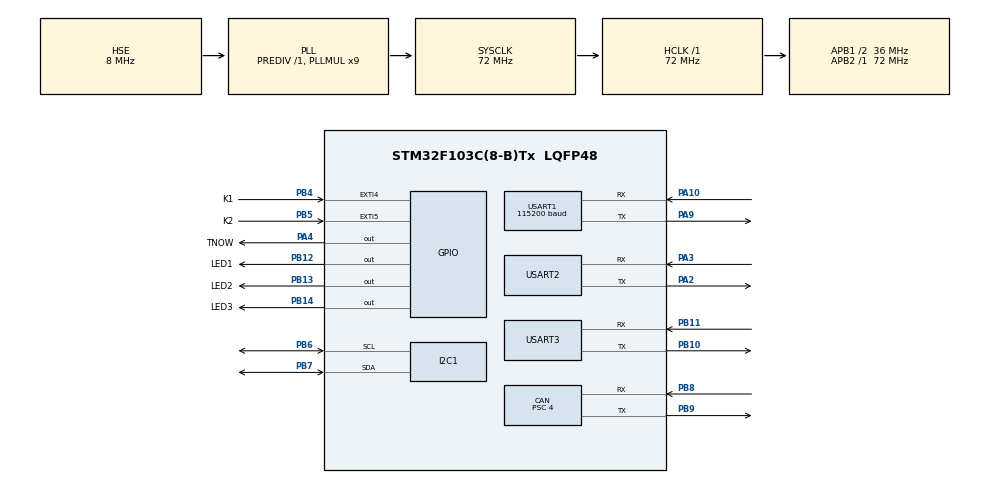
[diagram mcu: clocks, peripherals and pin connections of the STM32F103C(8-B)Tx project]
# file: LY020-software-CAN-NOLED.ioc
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CAN.BS1=CAN_BS1_5TQ
CAN.BS2=CAN_BS2_3TQ
CAN.CalculateBaudRate=1000000
CAN.CalculateTimeBit=1000
CAN.CalculateTimeQuantum=111.11111111111111
CAN.Prescaler=4
Mcu.Family=STM32F1
Mcu.Name=STM32F103C(8-B)Tx
Mcu.Package=LQFP48
NVIC.EXTI4_IRQn=true\:0\:0\:false\:false\:true\:true\:true\:true
NVIC.EXTI9_5_IRQn=true\:0\:0\:false\:false\:true\:true\:true\:true
NVIC.PriorityGroup=NVIC_PRIORITYGROUP_4
NVIC.RCC_IRQn=true\:0\:0\:false\:false\:true\:true\:false\:true
NVIC.USB_LP_CAN1_RX0_IRQn=true\:0\:0\:false\:false\:true\:false\:true\:true
PA10.Mode=Asynchronous
PA10.Signal=USART1_RX
PA13.Mode=Serial_Wire
PA13.Signal=SYS_JTMS-SWDIO
PA14.Mode=Serial_Wire
PA14.Signal=SYS_JTCK-SWCLK
PA2.Mode=Asynchronous
PA2.Signal=USART2_TX
PA3.Mode=Asynchronous
PA3.Signal=USART2_RX
PA4.GPIO_Label=TNOW
PA4.GPIO_Speed=GPIO_SPEED_FREQ_MEDIUM
PA4.Signal=GPIO_Output
PA9.Mode=Asynchronous
PA9.Signal=USART1_TX
PB10.Mode=Asynchronous
PB10.Signal=USART3_TX
PB11.Mode=Asynchronous
PB11.Signal=USART3_RX
PB12.GPIO_Label=LED1
PB12.Signal=GPIO_Output
PB13.GPIO_Label=LED2
PB13.Signal=GPIO_Output
PB14.GPIO_Label=LED3
PB14.Signal=GPIO_Output
PB4.GPIO_Label=K1
PB4.GPIO_ModeDefaultEXTI=GPIO_MODE_IT_FALLING
PB4.Signal=GPXTI4
PB5.GPIO_Label=K2
PB5.GPIO_ModeDefaultEXTI=GPIO_MODE_IT_FALLING
PB5.Signal=GPXTI5
PB6.Mode=I2C
PB6.Signal=I2C1_SCL
PB7.Mode=I2C
PB7.Signal=I2C1_SDA
PB8.Mode=CAN_Activate
PB8.Signal=CAN_RX
PB9.Mode=CAN_Activate
PB9.Signal=CAN_TX
PC14-OSC32_IN.Mode=LSE-External-Oscillator
PC14-OSC32_IN.Signal=RCC_OSC32_IN
PC15-OSC32_OUT.Mode=LSE-External-Oscillator
PC15-OSC32_OUT.Signal=RCC_OSC32_OUT
PD0-OSC_IN.Mode=HSE-External-Oscillator
PD0-OSC_IN.Signal=RCC_OSC_IN
PD1-OSC_OUT.Mode=HSE-External-Oscillator
PD1-OSC_OUT.Signal=RCC_OSC_OUT
ProjectManager.HeapSize=0x400
ProjectManager.StackSize=0x800
ProjectManager.TargetToolchain=MDK-ARM V5.32
RCC.AHBFreq_Value=72000000
RCC.APB1CLKDivider=RCC_HCLK_DIV2
RCC.APB1Freq_Value=36000000
RCC.APB1TimFreq_Value=72000000
RCC.APB2Freq_Value=72000000
RCC.APB2TimFreq_Value=72000000
RCC.HCLKFreq_Value=72000000
RCC.PLLMUL=RCC_PLL_MUL9
RCC.PLLSourceVirtual=RCC_PLLSOURCE_HSE
RCC.SYSCLKFreq_VALUE=72000000
RCC.SYSCLKSource=RCC_SYSCLKSOURCE_PLLCLK
RCC.USBFreq_Value=48000000
RCC.USBPrescaler=RCC_USBCLKSOURCE_PLL_DIV1_5
USART1.BaudRate=115200
USART1.VirtualMode=VM_ASYNC
USART2.VirtualMode=VM_ASYNC
USART3.VirtualMode=VM_ASYNC
board=custom

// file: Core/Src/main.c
/* USER CODE BEGIN Header */
/**
  ******************************************************************************
  * @file           : main.c
  * @brief          : Main program body
  ******************************************************************************
  * @attention
  *
  * Copyright (c) 2025 STMicroelectronics.
  * All rights reserved.
  *
  * This software is licensed under terms that can be found in the LICENSE file
  * in the root directory of this software component.
  * If no LICENSE file comes with this software, it is provided AS-IS.
  *
  ******************************************************************************
  */
/* USER CODE END Header */
#include "main.h"

/* USER CODE BEGIN Includes */
#include "stdio.h"
#include "OLED_IIC_Config.h"
#include "OLED_Function.h"
#include "OLED_Front.h"

/* USER CODE END Includes */

CAN_HandleTypeDef hcan;

I2C_HandleTypeDef hi2c1;

UART_HandleTypeDef huart1;
UART_HandleTypeDef huart2;
UART_HandleTypeDef huart3;

/* USER CODE BEGIN PV */
//char buff[] = "USB CDC TESTING Hello World!\r\n";

//CAN全局变量
CAN_TxHeaderTypeDef TxHeaderCAN;
CAN_RxHeaderTypeDef RxHeaderCAN;
uint8_t RxDataCAN[8];
uint8_t TxDataCAN[8];
//uint8_t TxDataCAN[8]= {99,25,33,48,99,78,63,99};
uint8_t CAN_Rx_Flag=0;//CAN接收标志
/* USER CODE END PV */

void SystemClock_Config(void);
static void MX_GPIO_Init(void);
static void MX_USART1_UART_Init(void);
static void MX_I2C1_Init(void);
static void MX_USART2_UART_Init(void);
static void MX_USART3_UART_Init(void);
static void MX_CAN_Init(void);
/* USER CODE BEGIN PFP */
void filter_init(void);
void CAN_Test(void);
void CAN1_Send_Test(void);
/* USER CODE END PFP */

/* USER CODE BEGIN 0 */
#ifdef __GNUC__
  #define PUTCHAR_PROTOTYPE int __io_putchar(int ch)
#else
  #define PUTCHAR_PROTOTYPE int fputc(int ch, FILE *f)
#endif

PUTCHAR_PROTOTYPE
{
  HAL_UART_Transmit(&huart1,(uint8_t *)&ch,1,0xFFFF); //阻塞方式打印,串口1
  return ch;
}

/*
void USB_Disconnected(void) {
    __HAL_RCC_USB_FORCE_RESET();
    HAL_Delay(200);
    __HAL_RCC_USB_RELEASE_RESET();

    GPIO_InitTypeDef GPIO_Initure;
    __HAL_RCC_GPIOA_CLK_ENABLE();

    GPIO_Initure.Pin = GPIO_PIN_11 | GPIO_PIN_12;
    GPIO_Initure.Mode = GPIO_MODE_OUTPUT_PP;
    GPIO_Initure.Pull = GPIO_PULLDOWN;
    GPIO_Initure.Speed = GPIO_SPEED_FREQ_HIGH;
    HAL_GPIO_Init(GPIOA, &GPIO_Initure);

    HAL_GPIO_WritePin(GPIOA, GPIO_PIN_11, GPIO_PIN_RESET);
    HAL_GPIO_WritePin(GPIOA, GPIO_PIN_12, GPIO_PIN_RESET);
    HAL_Delay(300);
}
*/
/* USER CODE END 0 */

int main(void)
{

  /* MCU Configuration--------------------------------------------------------*/

  /* Reset of all peripherals, Initializes the Flash interface and the Systick. */
  HAL_Init();

  /* Configure the system clock */
  SystemClock_Config();

  /* Initialize all configured peripherals */
  MX_GPIO_Init();
  MX_USART1_UART_Init();
  MX_I2C1_Init();
  MX_USART2_UART_Init();
  MX_USART3_UART_Init();
  MX_CAN_Init();
  /* USER CODE BEGIN 2 */
	filter_init();
  HAL_CAN_Start(&hcan);

  //printf("LAN YUAN TECH\r\n");
  HAL_UART_Transmit(&huart1,"LAN YUAN TECH\r\n",strlen("LAN YUAN TECH\r\n"),0xFFFF);
  HAL_Delay(50);

  //printf("LAN YUAN TECH\r\n");
  printf("SYSTEM START\r\n");
  /* USER CODE END 2 */

  /* Infinite loop */
  while (1)
  {

    /* USER CODE BEGIN 3 */

		 //CDC_Transmit_FS(buff,sizeof(buff)); //USB 虚拟串口发送数据
	  //HAL_Delay(500);

	 // printf("LAN YUAN TECH\r\n");

	  //HAL_UART_Transmit(&huart1,"LAN YUAN TECH\r\n",strlen("LAN YUAN TECH\r\n"),0xFFFF);

	  HAL_GPIO_TogglePin(LED1_GPIO_Port, LED1_Pin);
	  HAL_Delay(200);
	  HAL_GPIO_TogglePin(LED2_GPIO_Port, LED2_Pin);
	  HAL_Delay(200);
	  HAL_GPIO_TogglePin(LED3_GPIO_Port, LED3_Pin);
	  HAL_Delay(200);
	  HAL_GPIO_TogglePin(LED1_GPIO_Port, LED1_Pin);
	  HAL_Delay(200);
	  HAL_GPIO_TogglePin(LED2_GPIO_Port, LED2_Pin);
	  HAL_Delay(200);
	  HAL_GPIO_TogglePin(LED3_GPIO_Port, LED3_Pin);
	  HAL_Delay(200);

	  //printf("LAN YUAN TECH\r\n"); //USART1发送-USB
	  HAL_UART_Transmit(&huart1,"LAN YUAN TECH\r\n",strlen("LAN YUAN TECH\r\n"),0xFFFF);

	  HAL_GPIO_WritePin(TNOW_GPIO_Port, TNOW_Pin, SET);								//USART2-TNOW 高电平 发送使能
	  HAL_UART_Transmit(&huart2,"LAN YUAN TECH",strlen("LAN YUAN TECH"),0xFFFF);	//USART2发送-RS485
	  HAL_GPIO_WritePin(TNOW_GPIO_Port, TNOW_Pin, RESET);							//USART2-TNOW 低电平 接收使能

	  HAL_UART_Transmit(&huart3,"LAN YUAN TECH",strlen("LAN YUAN TECH"),0xFFFF);	//USART3发送-RS232

	  CAN_Test();
	 	 //处理CAN接收数据
	 	if(CAN_Rx_Flag)
	 	{
	 	 CAN_Rx_Flag = 0;//清空CAN接收标志
	 	 printf("CAN接收数据：\r\n");
	 	 for(int i = 0;i<8;i++) printf(" 0x%02x",RxDataCAN[i]);
	 	 printf("\r\n");
	 	}

  }
  /* USER CODE END 3 */
}

void SystemClock_Config(void)
{
  RCC_OscInitTypeDef RCC_OscInitStruct = {0};
  RCC_ClkInitTypeDef RCC_ClkInitStruct = {0};

  /** Initializes the RCC Oscillators according to the specified parameters
  * in the RCC_OscInitTypeDef structure.
  */
  RCC_OscInitStruct.OscillatorType = RCC_OSCILLATORTYPE_HSE;
  RCC_OscInitStruct.HSEState = RCC_HSE_ON;
  RCC_OscInitStruct.HSEPredivValue = RCC_HSE_PREDIV_DIV1;
  RCC_OscInitStruct.HSIState = RCC_HSI_ON;
  RCC_OscInitStruct.PLL.PLLState = RCC_PLL_ON;
  RCC_OscInitStruct.PLL.PLLSource = RCC_PLLSOURCE_HSE;
  RCC_OscInitStruct.PLL.PLLMUL = RCC_PLL_MUL9;
  if (HAL_RCC_OscConfig(&RCC_OscInitStruct) != HAL_OK)
  {
    Error_Handler();
  }

  /** Initializes the CPU, AHB and APB buses clocks
  */
  RCC_ClkInitStruct.ClockType = RCC_CLOCKTYPE_HCLK|RCC_CLOCKTYPE_SYSCLK
                              |RCC_CLOCKTYPE_PCLK1|RCC_CLOCKTYPE_PCLK2;
  RCC_ClkInitStruct.SYSCLKSource = RCC_SYSCLKSOURCE_PLLCLK;
  RCC_ClkInitStruct.AHBCLKDivider = RCC_SYSCLK_DIV1;
  RCC_ClkInitStruct.APB1CLKDivider = RCC_HCLK_DIV2;
  RCC_ClkInitStruct.APB2CLKDivider = RCC_HCLK_DIV1;

  if (HAL_RCC_ClockConfig(&RCC_ClkInitStruct, FLASH_LATENCY_2) != HAL_OK)
  {
    Error_Handler();
  }
}

static void MX_CAN_Init(void)
{

  hcan.Instance = CAN1;
  hcan.Init.Prescaler = 4;
  hcan.Init.Mode = CAN_MODE_NORMAL;
  hcan.Init.SyncJumpWidth = CAN_SJW_1TQ;
  hcan.Init.TimeSeg1 = CAN_BS1_5TQ;
  hcan.Init.TimeSeg2 = CAN_BS2_3TQ;
  hcan.Init.TimeTriggeredMode = DISABLE;
  hcan.Init.AutoBusOff = DISABLE;
  hcan.Init.AutoWakeUp = DISABLE;
  hcan.Init.AutoRetransmission = DISABLE;
  hcan.Init.ReceiveFifoLocked = DISABLE;
  hcan.Init.TransmitFifoPriority = DISABLE;
  if (HAL_CAN_Init(&hcan) != HAL_OK)
  {
    Error_Handler();
  }

}

static void MX_I2C1_Init(void)
{

  hi2c1.Instance = I2C1;
  hi2c1.Init.ClockSpeed = 100000;
  hi2c1.Init.DutyCycle = I2C_DUTYCYCLE_2;
  hi2c1.Init.OwnAddress1 = 0;
  hi2c1.Init.AddressingMode = I2C_ADDRESSINGMODE_7BIT;
  hi2c1.Init.DualAddressMode = I2C_DUALADDRESS_DISABLE;
  hi2c1.Init.OwnAddress2 = 0;
  hi2c1.Init.GeneralCallMode = I2C_GENERALCALL_DISABLE;
  hi2c1.Init.NoStretchMode = I2C_NOSTRETCH_DISABLE;
  if (HAL_I2C_Init(&hi2c1) != HAL_OK)
  {
    Error_Handler();
  }

}

static void MX_USART1_UART_Init(void)
{

  huart1.Instance = USART1;
  huart1.Init.BaudRate = 115200;
  huart1.Init.WordLength = UART_WORDLENGTH_8B;
  huart1.Init.StopBits = UART_STOPBITS_1;
  huart1.Init.Parity = UART_PARITY_NONE;
  huart1.Init.Mode = UART_MODE_TX_RX;
  huart1.Init.HwFlowCtl = UART_HWCONTROL_NONE;
  huart1.Init.OverSampling = UART_OVERSAMPLING_16;
  if (HAL_UART_Init(&huart1) != HAL_OK)
  {
    Error_Handler();
  }

}

static void MX_USART2_UART_Init(void)
{

  huart2.Instance = USART2;
  huart2.Init.BaudRate = 115200;
  huart2.Init.WordLength = UART_WORDLENGTH_8B;
  huart2.Init.StopBits = UART_STOPBITS_1;
  huart2.Init.Parity = UART_PARITY_NONE;
  huart2.Init.Mode = UART_MODE_TX_RX;
  huart2.Init.HwFlowCtl = UART_HWCONTROL_NONE;
  huart2.Init.OverSampling = UART_OVERSAMPLING_16;
  if (HAL_UART_Init(&huart2) != HAL_OK)
  {
    Error_Handler();
  }

}

static void MX_USART3_UART_Init(void)
{

  huart3.Instance = USART3;
  huart3.Init.BaudRate = 115200;
  huart3.Init.WordLength = UART_WORDLENGTH_8B;
  huart3.Init.StopBits = UART_STOPBITS_1;
  huart3.Init.Parity = UART_PARITY_NONE;
  huart3.Init.Mode = UART_MODE_TX_RX;
  huart3.Init.HwFlowCtl = UART_HWCONTROL_NONE;
  huart3.Init.OverSampling = UART_OVERSAMPLING_16;
  if (HAL_UART_Init(&huart3) != HAL_OK)
  {
    Error_Handler();
  }

}

static void MX_GPIO_Init(void)
{
  GPIO_InitTypeDef GPIO_InitStruct = {0};

  /* GPIO Ports Clock Enable */
  __HAL_RCC_GPIOC_CLK_ENABLE();
  __HAL_RCC_GPIOD_CLK_ENABLE();
  __HAL_RCC_GPIOA_CLK_ENABLE();
  __HAL_RCC_GPIOB_CLK_ENABLE();

  /*Configure GPIO pin Output Level */
  HAL_GPIO_WritePin(TNOW_GPIO_Port, TNOW_Pin, GPIO_PIN_RESET);

  /*Configure GPIO pin Output Level */
  HAL_GPIO_WritePin(GPIOB, LED1_Pin|LED2_Pin|LED3_Pin, GPIO_PIN_RESET);

  /*Configure GPIO pin : TNOW_Pin */
  GPIO_InitStruct.Pin = TNOW_Pin;
  GPIO_InitStruct.Mode = GPIO_MODE_OUTPUT_PP;
  GPIO_InitStruct.Pull = GPIO_NOPULL;
  GPIO_InitStruct.Speed = GPIO_SPEED_FREQ_MEDIUM;
  HAL_GPIO_Init(TNOW_GPIO_Port, &GPIO_InitStruct);

  /*Configure GPIO pins : LED1_Pin LED2_Pin LED3_Pin */
  GPIO_InitStruct.Pin = LED1_Pin|LED2_Pin|LED3_Pin;
  GPIO_InitStruct.Mode = GPIO_MODE_OUTPUT_PP;
  GPIO_InitStruct.Pull = GPIO_NOPULL;
  GPIO_InitStruct.Speed = GPIO_SPEED_FREQ_LOW;
  HAL_GPIO_Init(GPIOB, &GPIO_InitStruct);

  /*Configure GPIO pins : K1_Pin K2_Pin */
  GPIO_InitStruct.Pin = K1_Pin|K2_Pin;
  GPIO_InitStruct.Mode = GPIO_MODE_IT_FALLING;
  GPIO_InitStruct.Pull = GPIO_NOPULL;
  HAL_GPIO_Init(GPIOB, &GPIO_InitStruct);

  /* EXTI interrupt init*/
  HAL_NVIC_SetPriority(EXTI4_IRQn, 0, 0);
  HAL_NVIC_EnableIRQ(EXTI4_IRQn);

  HAL_NVIC_SetPriority(EXTI9_5_IRQn, 0, 0);
  HAL_NVIC_EnableIRQ(EXTI9_5_IRQn);

}

/* USER CODE BEGIN 4 */
void filter_init(void)
{
    HAL_StatusTypeDef HAL_Status;
    CAN_FilterTypeDef Filter0;
    Filter0.FilterBank = 1;//滤波器编号
    Filter0.FilterMode = CAN_FILTERMODE_IDMASK;
    Filter0.FilterScale = CAN_FILTERSCALE_32BIT;
    Filter0.FilterIdHigh = 0x00;
    Filter0.FilterIdLow = 0x00;
    Filter0.FilterMaskIdHigh = 0x00;
    Filter0.FilterMaskIdLow = 0x00;
    Filter0.FilterFIFOAssignment = CAN_FILTER_FIFO0;
    Filter0.FilterActivation = CAN_FILTER_ENABLE;

    HAL_Status = HAL_CAN_ConfigFilter(&hcan,&Filter0);
    if(HAL_Status != HAL_OK)
    {
       	printf("CAN Filter set Fail!code:%drn",HAL_Status);
        Error_Handler();
    }
}

//重定义CAN接收中断回调函数
void HAL_CAN_RxFifo0MsgPendingCallback(CAN_HandleTypeDef *hcan)
{
    HAL_StatusTypeDef HAL_Status;
    if(hcan->Instance == CAN1)
    {
        HAL_Status = HAL_CAN_GetRxMessage(hcan,CAN_RX_FIFO0,&RxHeaderCAN,RxDataCAN);
        if(HAL_Status == HAL_OK)
        {
            //处理接收数据
            CAN_Rx_Flag = 1;
        }
    }
}

void CAN_Test(void)
{
	 //发送数据CAN
	      TxHeaderCAN.ExtId = 0x1800F001;
	      TxHeaderCAN.DLC = 8;
	      TxHeaderCAN.IDE = CAN_ID_STD;
	      TxHeaderCAN.RTR = CAN_RTR_DATA;
	      TxHeaderCAN.StdId = 0x01;
	      TxHeaderCAN.TransmitGlobalTime = ENABLE;

	      uint32_t TxMailBox;
	      HAL_StatusTypeDef HAL_Status;

    printf("\r\n------------------CAN通信测试------------------\r\n");

   for (int i = 0; i < 8; ++i) TxDataCAN[i] = i;
    printf("CAN发送数据：\r\n");
    for (int i = 0; i < 8; ++i) printf(" 0x%02x",TxDataCAN[i]);
    printf("\r\n");

    HAL_CAN_AddTxMessage(&hcan,&TxHeaderCAN,TxDataCAN,&TxMailBox);
}

/*
void CAN1_Send_Test(void)
{
	 //发送数据CAN
	    TxHeaderCAN.ExtId = 0x1800F001;
	    TxHeaderCAN.DLC = 8;
	    TxHeaderCAN.IDE = CAN_ID_STD;
	    TxHeaderCAN.RTR = CAN_RTR_DATA;
	    TxHeaderCAN.StdId = 0x01;
	    TxHeaderCAN.TransmitGlobalTime = ENABLE;

	    uint32_t TxMailBox;
	    HAL_StatusTypeDef HAL_Status;

	    HAL_CAN_AddTxMessage(&hcan,&TxHeaderCAN,TxDataCAN,&TxMailBox);

}
*/

// 在 main.c 中重写回调函数
void HAL_GPIO_EXTI_Callback(uint16_t GPIO_Pin)
{
    if (GPIO_Pin == K1_Pin)
    {  // KEY_PIN 需替换为你的引脚（如 GPIO_PIN_0）
        // 简单消抖：延时检测电平是否稳定
        //HAL_Delay(10);  // 注意：中断内慎用延时，实际项目建议用标记位+主循环处理
        if (HAL_GPIO_ReadPin(K1_GPIO_Port, K1_Pin) == GPIO_PIN_RESET)
        {
            // 执行按键操作，如翻转 LED
        	HAL_GPIO_TogglePin(LED3_GPIO_Port, LED3_Pin);
            //printf("KEY1 trigger \r\n");
        	HAL_UART_Transmit(&huart1,"KEY1 trigger \r\n",strlen("KEY1 trigger \r\n"),0xFFFF);
        }
    }

    if (GPIO_Pin == K2_Pin) {  // KEY_PIN 需替换为你的引脚（如 GPIO_PIN_0）
            // 简单消抖：延时检测电平是否稳定
          //  HAL_Delay(10);  // 注意：中断内慎用延时，实际项目建议用标记位+主循环处理
            if (HAL_GPIO_ReadPin(K2_GPIO_Port, K2_Pin) == GPIO_PIN_RESET)
            {
                // 执行按键操作，如翻转 LED
            	HAL_GPIO_TogglePin(LED2_GPIO_Port, LED2_Pin);
                //printf("KEY2 trigger\r\n");
                HAL_UART_Transmit(&huart1,"KEY2 trigger \r\n",strlen("KEY2 trigger \r\n"),0xFFFF);
            }
        }

}

/* USER CODE END 4 */

void Error_Handler(void)
{
  __disable_irq();
  while (1)
  {
  }
}
